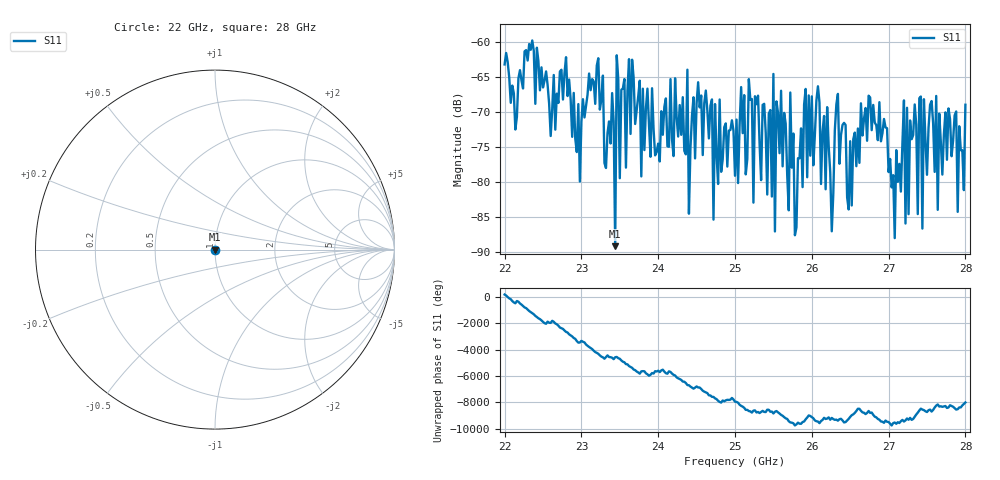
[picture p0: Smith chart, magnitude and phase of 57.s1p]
#  HZ  S  RI  R  50.00
! Rohde & Schwarz ZVA40 4Ports - Version 3.90 - 1145.1110k42 SN: 100403
! Date: 2023-10-04 07:51:07
! Measurement: S12
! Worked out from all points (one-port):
!   301 points, 22 GHz to 28 GHz, reference 50 ohm
!   lowest |S11| = -89.1 dB at 23.44 GHz (marker M1), VSWR 1.00, Z = 50 + j0.00346 ohm
!   |S11| at or under -10 dB: start of sweep to end of sweep
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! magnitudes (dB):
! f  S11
! 22 GHz  -63.3
! 22.76 GHz  -68.2
! 22.98 GHz  -79.9
! 23.22 GHz  -62.4
! 23.44 GHz  -89.1
! 23.46 GHz  -62.0
! 23.5 GHz  -79.4
! 23.62 GHz  -62.5
! 23.76 GHz  -65.6
! 23.78 GHz  -79.2
! 23.8 GHz  -66.7
! 24.26 GHz  -73.5
! 25 GHz  -79.1
! 25.18 GHz  -65.3
! 25.24 GHz  -82.9
! 25.26 GHz  -67.8
! 25.34 GHz  -79.7
! 25.38 GHz  -68.9
! 25.48 GHz  -82.0
! 25.5 GHz  -64.6
! 25.52 GHz  -87.0
! 25.54 GHz  -68.5
! 25.76 GHz  -73.1
! 26.5 GHz  -74.2
! 27.16 GHz  -81.3
! 27.2 GHz  -68.4
! 27.26 GHz  -84.6
! 28 GHz  -69.0
